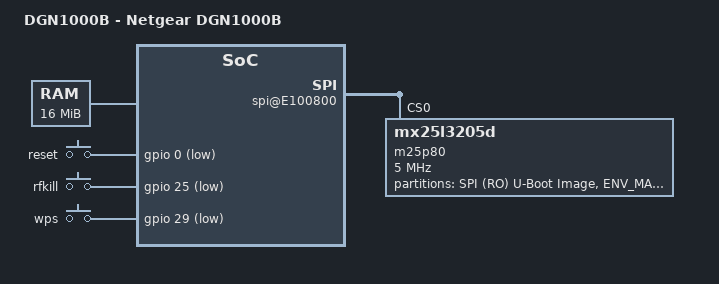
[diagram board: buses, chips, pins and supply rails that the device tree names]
/dts-v1/;

/include/ "amazonse.dtsi"

/ {
	model = "DGN1000B - Netgear DGN1000B";

	chosen {
		bootargs = "console=ttyLTQ0,115200 init=/etc/preinit";
	};

	memory@0 {
		reg = <0x0 0x1000000>;
	};

	fpi@10000000 {
		gpio: pinmux@E100B10 {
			pinctrl-names = "default";
			pinctrl-0 = <&state_default>;

			state_default: pinmux {
				spi {
					lantiq,groups = "spi", "spi_cs1";
					lantiq,function = "spi";
				};
				asc {
					lantiq,groups = "asc";
					lantiq,function = "asc";
				};
				keys_in {
					lantiq,pins = "io0",/* "io25", */"io29";
					lantiq,pull = <2>;
					lantiq,open-drain = <1>;
				};
			};
		};

		etop@E180000 {
			phy-mode = "mii";
			mac-address = [ 00 11 22 33 44 55 ];
		};

		spi@E100800 {
			m25p80@0 {
				#address-cells = <1>;
				#size-cells = <1>;
				compatible = "mx25l3205d";
				reg = <0 0>;
				linux,modalias = "m25p80", "mx25l64";
				spi-max-frequency = <5000000>;

				partition@0 {
					reg = <0x0 0x20000>;
					label = "SPI (RO) U-Boot Image";
					read-only;
				};
	
				partition@20000 {
					reg = <0x20000 0x10000>;
					label = "ENV_MAC";
					read-only;
				};

				partition@30000 {
					reg = <0x30000 0x10000>;
					label = "DPF";
					read-only;
				};

				partition@40000 {
					reg = <0x40000 0x10000>;
					label = "NVRAM";
					read-only;
				};

				partition@500000 {
					reg = <0x50000 0x003a0000>;
					label = "kernel";
				};
			};
		};
		ifxhcd@E101000 {
			status = "okay";
		};
	};

	gpio-keys-polled {
		compatible = "gpio-keys-polled";
		#address-cells = <1>;
		#size-cells = <0>;
		poll-interval = <100>;

		reset {
			label = "reset";
			gpios = <&gpio 0 1>;
			linux,code = <0x100>;
		};
		rfkill {
			label = "rfkill";
			gpios = <&gpio 25 1>;
			linux,code = <0xf7>;
		};
		wps {
			label = "wps";
			gpios = <&gpio 29 1>;
			linux,code = <0x211>;
		};
	};

	gpio-leds {
		cmpatible = "gpio-leds";
		dsl {
			label = "dsl";
			gpios = <&gpio 1 1>;
			default-state = "on";
		};
		online {
			label = "online";
			gpios = <&gpio 2 1>;
			default-state = "on";
		};
		online2 {
			label = "online2";
			gpios = <&gpio 3 1>;
			default-state = "on";
		};
		wps {
			label = "wps";
			gpios = <&gpio 4 1>;
			default-state = "on";
		};
		power {
			label = "power";
			gpios = <&gpio 13 1>;
			default-state = "on";
		};
	};
};
